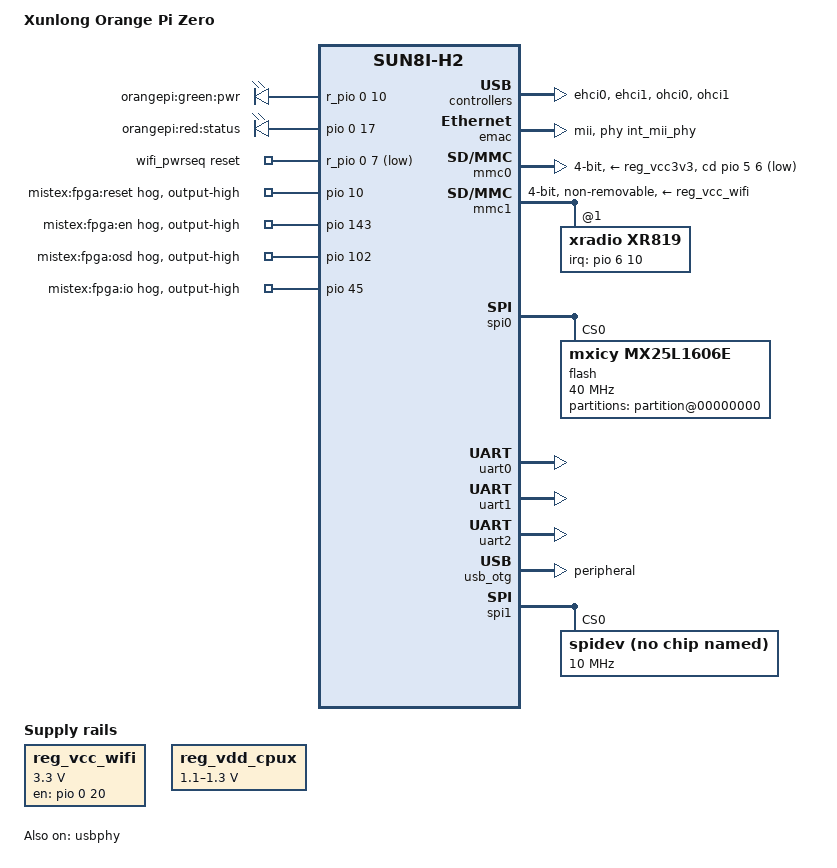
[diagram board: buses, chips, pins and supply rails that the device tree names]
/*
 * Copyright (C) 2016 Icenowy Zheng <icenowy@aosc.xyz>
 *
 * Based on sun8i-h3-orangepi-one.dts, which is:
 *   Copyright (C) 2016 Hans de Goede <hdegoede@redhat.com>
 *
 * This file is dual-licensed: you can use it either under the terms
 * of the GPL or the X11 license, at your option. Note that this dual
 * licensing only applies to this file, and not this project as a
 * whole.
 *
 *  a) This file is free software; you can redistribute it and/or
 *     modify it under the terms of the GNU General Public License as
 *     published by the Free Software Foundation; either version 2 of the
 *     License, or (at your option) any later version.
 *
 *     This file is distributed in the hope that it will be useful,
 *     but WITHOUT ANY WARRANTY; without even the implied warranty of
 *     MERCHANTABILITY or FITNESS FOR A PARTICULAR PURPOSE.  See the
 *     GNU General Public License for more details.
 *
 * Or, alternatively,
 *
 *  b) Permission is hereby granted, free of charge, to any person
 *     obtaining a copy of this software and associated documentation
 *     files (the "Software"), to deal in the Software without
 *     restriction, including without limitation the rights to use,
 *     copy, modify, merge, publish, distribute, sublicense, and/or
 *     sell copies of the Software, and to permit persons to whom the
 *     Software is furnished to do so, subject to the following
 *     conditions:
 *
 *     The above copyright notice and this permission notice shall be
 *     included in all copies or substantial portions of the Software.
 *
 *     THE SOFTWARE IS PROVIDED "AS IS", WITHOUT WARRANTY OF ANY KIND,
 *     EXPRESS OR IMPLIED, INCLUDING BUT NOT LIMITED TO THE WARRANTIES
 *     OF MERCHANTABILITY, FITNESS FOR A PARTICULAR PURPOSE AND
 *     NONINFRINGEMENT. IN NO EVENT SHALL THE AUTHORS OR COPYRIGHT
 *     HOLDERS BE LIABLE FOR ANY CLAIM, DAMAGES OR OTHER LIABILITY,
 *     WHETHER IN AN ACTION OF CONTRACT, TORT OR OTHERWISE, ARISING
 *     FROM, OUT OF OR IN CONNECTION WITH THE SOFTWARE OR THE USE OR
 *     OTHER DEALINGS IN THE SOFTWARE.
 */

/dts-v1/;
#include "sun8i-h3.dtsi"
#include "sunxi-common-regulators.dtsi"

#include <dt-bindings/gpio/gpio.h>
#include <dt-bindings/input/input.h>

/ {
	model = "Xunlong Orange Pi Zero";
	compatible = "xunlong,orangepi-zero", "allwinner,sun8i-h2-plus";

	aliases {
		serial0 = &uart0;
		/* ethernet0 is the H3 emac, defined in sun8i-h3.dtsi */
		ethernet0 = &emac;
		ethernet1 = &xr819;
		spi1 = &spi1;
	};

	chosen {
		stdout-path = "serial0:115200n8";
	};

	leds {
		compatible = "gpio-leds";

		pwr_led {
			label = "orangepi:green:pwr";
			gpios = <&r_pio 0 10 GPIO_ACTIVE_HIGH>;
			default-state = "on";
			linux,default-trigger = "default-on";
			panic-indicator;
		};

		status_led {
			label = "orangepi:red:status";
			gpios = <&pio 0 17 GPIO_ACTIVE_HIGH>;
			linux,default-trigger = "heatbeat";
		};
	};


	reg_vcc_wifi: reg_vcc_wifi {
		compatible = "regulator-fixed";
		regulator-min-microvolt = <3300000>;
		regulator-max-microvolt = <3300000>;
		regulator-name = "vcc-wifi";
		enable-active-high;
		gpio = <&pio 0 20 GPIO_ACTIVE_HIGH>;
	};

	reg_vdd_cpux: vdd-cpux-regulator {
		compatible = "regulator-gpio";
		regulator-name = "vdd-cpux";
		regulator-type = "voltage";
		regulator-boot-on;
		regulator-always-on;
		regulator-min-microvolt = <1100000>;
		regulator-max-microvolt = <1300000>;
		regulator-ramp-delay = <50>; /* 4ms */

		gpios = <&r_pio 0 6 GPIO_ACTIVE_HIGH>; /* PL6 */
		enable-active-high;
		gpios-states = <1>;
		states = <1100000 0>, <1300000 1>;
	};

	wifi_pwrseq: wifi_pwrseq {
		compatible = "mmc-pwrseq-simple";
		reset-gpios = <&r_pio 0 7 GPIO_ACTIVE_LOW>;
		post-power-on-delay-ms = <200>;
	};

};

&cpu0 {
	cpu-supply = <&reg_vdd_cpux>;
};

&ehci0 {
	status = "okay";
};

&ehci1 {
	status = "okay";
};

&emac {
	phy-handle = <&int_mii_phy>;
	phy-mode = "mii";
	allwinner,leds-active-low;
	status = "okay";
};

&mmc0 {
	vmmc-supply = <&reg_vcc3v3>;
	bus-width = <4>;
	cd-gpios = <&pio 5 6 GPIO_ACTIVE_LOW>; /* PF6 */
	status = "okay";
};

&mmc1 {
	vmmc-supply = <&reg_vcc_wifi>;
	mmc-pwrseq = <&wifi_pwrseq>;
	bus-width = <4>;
	non-removable;
	status = "okay";

	/*
	 * Explicitly define the sdio device, so that we can add an ethernet
	 * alias for it (which e.g. makes u-boot set a mac-address).
	 */
	xr819: sdio_wifi@1 {
		reg = <1>;
		compatible = "xradio,xr819";
		interrupt-parent = <&pio>;
		interrupts = <6 10 IRQ_TYPE_EDGE_RISING>;
	};
};

&ohci0 {
	status = "okay";
};

&ohci1 {
	status = "okay";
};

&spi0 {
	/* Disable SPI NOR by default: it optional on Orange Pi Zero boards */
	status = "disabled";

	flash@0 {
		#address-cells = <1>;
		#size-cells = <1>;
		compatible = "mxicy,mx25l1606e", "jedec,spi-nor";
		reg = <0>;
		spi-max-frequency = <40000000>;
	};
};

&uart0 {
	pinctrl-names = "default";
	pinctrl-0 = <&uart0_pa_pins>;
	status = "okay";
};

&uart1 {
	pinctrl-names = "default";
	pinctrl-0 = <&uart1_pins>;
	status = "okay";
};

&uart2 {
	pinctrl-names = "default";
	pinctrl-0 = <&uart2_pins>;
	status = "okay";
};

&usb_otg {
	dr_mode = "peripheral";
	status = "okay";
};

&usbphy {
	/*
	 * USB Type-A port VBUS is always on. However, MicroUSB VBUS can only
	 * power up the board; when it's used as OTG port, this VBUS is
	 * always off even if the board is powered via GPIO pins.
	 */
	status = "okay";
	usb0_id_det-gpios = <&pio 6 12 GPIO_ACTIVE_HIGH>; /* PG12 */
};

&spi0 {
	status = "okay";

	flash@0 {
		#address-cells = <1>;
		#size-cells = <1>;
		compatible = "mxicy,mx25l1606e", "winbond,w25q128";
		reg = <0>;
		spi-max-frequency = <40000000>;

		partition@00000000 {
			reg = <0x00000000 0x200000>;	/* 2Mb */
		};
	};
};

&spi1 {
	status = "okay";


	spidev@0 {
		compatible = "generic,spidev";
		reg = <0>;
		spi-max-frequency = <10000000>;
	};
};
&pio {
	gpio-line-names =
		/* PA */
		"PA0", "PA1", "PA2", "PA3", "PA4", "PA5", "PA6", "PA7",
		"PA8", "PA9", "FPGA-RESET", "PA11", "PA12", "PA13", "PA14", "PA15",
		"PA16", "PA17", "PA18", "PA19", "PA20", "PA21", "PA22", "PA23",
		"PA24", "PA25", "PA26", "PA27", "PA28", "PA29", "PA30", "PA31",
		/* PB */
		"PB0", "PB1", "PB2", "PB3", "PB4", "PB5", "PB6", "PB7",
		"PB8", "PB9", "PB10", "PB11", "PB12", "IO-EN", "PB14", "PB15",
		"PB16", "PB17", "PB18", "PB19", "PB20", "PB21", "PB22", "PB23",
		"PB24", "PB25", "PB26", "PB27", "PB28", "PB29", "PB30", "PB31",
		/* PC */
		"PC0", "PC1", "PC2", "PC3", "PC4", "PC5", "PC6", "PC7",
		"PC8", "PC9", "PC10", "PC11", "PC12", "PC13", "PC14", "PC15",
		"PC16", "PC17", "PC18", "PC19", "PC20", "PC21", "PC22", "PC23",
		"PC24", "PC25", "PC26", "PC27", "PC28", "PC29", "PC30", "PC31",
		/* PD */
		"PD0", "PD1", "PD2", "PD3", "PD4", "PD5", "OSD-EN", "PD7",
		"PD8", "PD9", "PD10", "PD11", "PD12", "PD13", "PD14", "PD15",
		"PD16", "PD17", "PD18", "PD19", "PD20", "PD21", "PD22", "PD23",
		"PD24", "PD25", "PD26", "PD27", "PD28", "PD29", "PD30", "PD31",
		/* PE */
		"PE0", "PE1", "PE2", "PE3", "PE4", "PE5", "PE6", "PE7",
		"PE8", "PE9", "PE10", "PE11", "PE12", "PE13", "PE14","FPGA-EN",
		"PE16", "PE17", "PE18", "PE19", "PE20", "PE21", "PE22", "PE23",
		"PE24", "PE25", "PE26", "PE27", "PE28", "PE29", "PE30", "PE31",
		/* PF */
		"PF0", "PF1", "PF2", "PF3", "PF4", "PF5", "PF6", "PD7",
		"PF8", "PF9", "PF10", "PF11", "PF12", "PF13", "PF14", "PF15",
		"PF16", "PF17", "PF18", "PF19", "PF20", "PF21", "PF22", "PF23",
		"PF24", "pf25", "PF26", "PF27", "PF28", "PF29", "PF30", "PF31",
		/* PG */
		"PG0", "PG1", "PG2", "PG3", "PG4", "PG5", "PG6", "PG7",
		"PG8", "PG9", "PG10", "PG11", "PG12", "PG13", "PG14", "PG15",
		"PG16", "PG17", "PG18", "PG19", "PG20", "PG21", "PG22", "PG23",
		"PG24", "PG25", "PG26", "PG27", "PG28", "PG29", "PG30", "PG31";
	fpga-reset-pins {
		gpio-hog;
		line-name = "mistex:fpga:reset";
		//gpios = <0 10>; // PA10
		gpios = <10 GPIO_ACTIVE_HIGH>;
		output-high;
		pins = "PA10";
	};
	fpga-en {
		gpio-hog;
		line-name = "mistex:fpga:en";
		//gpios = <4 15>; // SPI1_CS (E15)
		gpios = <143 GPIO_ACTIVE_HIGH>;
		output-high;
		pins = "PE15";
	};
	osd-en {
		gpio-hog;
		line-name = "mistex:fpga:osd";
		//gpios = <3 6>; // UART2_RTS (D6)
		gpios = <102 GPIO_ACTIVE_HIGH>;
		output-high;
		pins = "PD6";
	};
	io-en {
		gpio-hog;
		line-name = "mistex:fpga:io";
		//gpios = <1 13>; // TWI1_SCK (B13)
		gpios = <45 GPIO_ACTIVE_HIGH>;
		output-high;
		pins = "PB13";
	};
};
